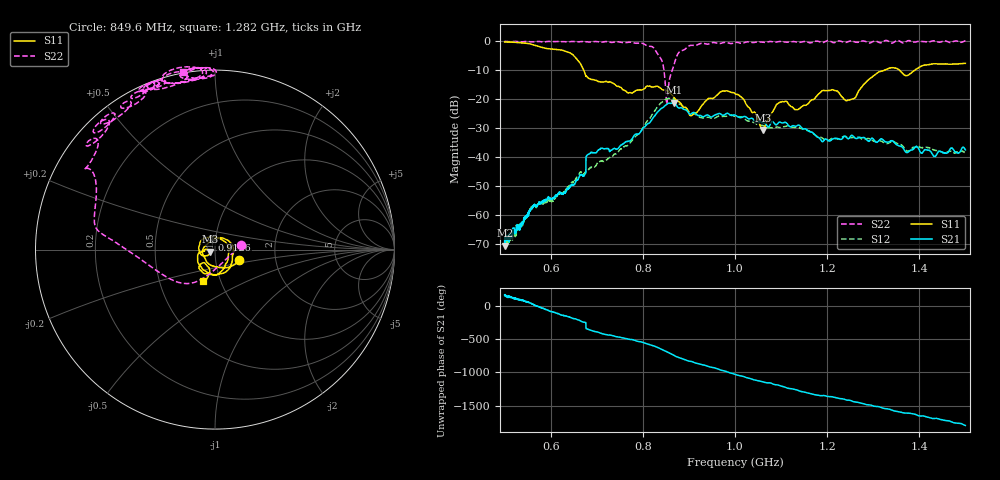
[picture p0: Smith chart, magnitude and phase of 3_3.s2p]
!Agilent Technologies,E8364B,US42250235,A.06.04.32
!Agilent E8364B: A.06.04.32
!Date: Thursday, October 01, 2020 16:01:24
!Correction: S11(Full 2 Port(1,2)) S21(Full 2 Port(1,2)) S12(Full 2 Port(1,2)) S22(Full 2 Port(1,2))
!S2P File: Measurements: S11, S21, S12, S22:
# Hz S  dB  R 50
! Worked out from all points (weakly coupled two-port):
!   2650 points, 500 MHz to 1.5 GHz, reference 50 ohm
!   highest |S21| = -21.16 dB at 866.9 MHz (marker M1); lowest = -70.6 dB at 500.4 MHz (marker M2)
!   lowest |S11| = -30.6 dB at 1.061 GHz (marker M3), VSWR 1.06, Z = 47.4 - j1.17 ohm
!   |S11| at or under -10 dB: 671.7 MHz to 1.324 GHz (652.2 MHz wide, 65.4 % of centre); 1.357 GHz to 1.39 GHz (32.24 MHz wide, 2.35 % of centre)
!   |S22| runs from -21.7 to 0.3 dB; largest |S21 - S12| = 0.022
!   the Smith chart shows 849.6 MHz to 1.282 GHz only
!   S11 on the Smith chart (normalised r, x): 849.6 MHz: 1.30, -0.15; 912.6 MHz: 0.96, +0.11; 1.282 GHz: 0.82, -0.30
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5e8  -0.23 -174.9  -68.65 159.9  -69.92 147.9  0.00 143.4
5.003775e8  -0.23 -175.1  -70.61 149.9  -69.97 147.5  0.01 143.6
5.611552e8  -1.15 146.0  -57.47 26.1  -56.99 3.9  -0.20 133.2
6.192903e8  -2.92 109.1  -51.95 -127.9  -52.40 -142.0  -0.06 129.6
6.668554e8  -8.39 50.3  -46.12 124.9  -45.29 101.8  -0.07 124.3
6.827105e8  -12.83 68.5  -38.97 3.2  -44.16 66.7  -0.22 124.3
7.955832e8  -16.74 56.0  -31.14 179.2  -31.11 -168.2  -0.56 99.0
8.337108e8  -15.65 6.6  -24.14 89.2  -22.25 91.1  -4.83 52.2
8.495659e8  -16.84 -22.6  -22.06 39.5  -20.10 34.5  -16.77 9.4
8.669309e8  -19.26 -68.7  -21.16 -21.7  -19.87 -30.3  -8.38 -167.2
8.808985e8  -21.21 -113.6  -22.95 -61.3  -21.74 -72.2  -3.46 169.9
9.126085e8  -24.73 107.8  -24.74 -135.0  -25.08 -145.3  -1.43 144.5
1.000189e9  -18.09 -127.7  -25.46 49.6  -25.92 49.5  -0.40 120.0
1.061344e9  -30.63 -155.2  -28.22 -63.4  -29.13 -59.7  -0.33 114.0
1.095319e9  -21.20 -169.2  -27.97 -114.2  -29.70 -107.0  -0.06 110.9
1.166667e9  -20.20 -47.3  -31.36 116.9  -31.53 131.4  -0.43 101.6
1.253869e9  -19.95 -115.5  -32.48 9.0  -33.32 20.6  0.11 96.1
1.282182e9  -14.46 -111.0  -33.38 -38.5  -33.87 -22.0  0.04 100.3
1.321442e9  -10.17 -141.4  -34.06 -97.8  -34.85 -81.6  -0.12 82.0
1.333522e9  -9.34 -151.0  -34.70 -111.1  -35.16 -94.0  0.00 97.5
1.37165e9  -11.87 -174.1  -38.37 -171.3  -37.64 -156.9  -0.06 75.2
1.5e9  -7.61 140.5  -37.51 3.0  -38.60 36.4  0.22 71.9
